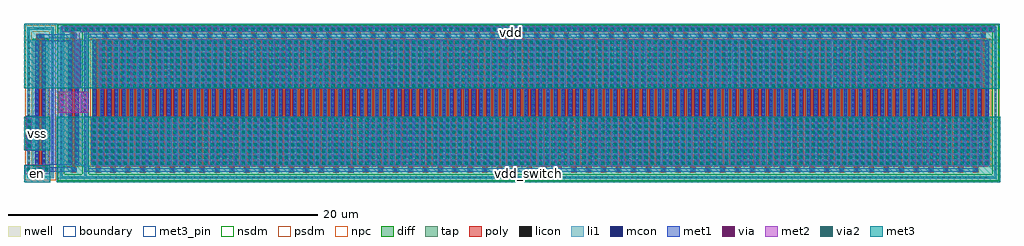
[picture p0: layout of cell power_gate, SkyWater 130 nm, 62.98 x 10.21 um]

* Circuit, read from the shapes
.subckt power_gate en vdd vdd_switch vss
XM1 n1 en vss vss sky130_fd_pr__nfet_01v8 w=8 l=0.15
XM2 vdd en n1 vdd sky130_fd_pr__pfet_01v8 w=8 l=0.15
XM3 vdd n1 vdd_switch vdd sky130_fd_pr__pfet_01v8 w=8 l=0.15 m=120
.ends

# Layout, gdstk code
import gdstk
lib = gdstk.Library(unit=1e-6, precision=1e-09)
def R(c, l, rs):  # rectangles x0, y0, x1, y1
    for r in rs: c.add(gdstk.rectangle(r[:2], r[2:], *l))
def A(c, l, x, y, w, h, nx, ny, dx, dy):  # array of equal rectangles
    R(c, l, [(x+i*dx, y+j*dy, x+i*dx+w, y+j*dy+h) for i in range(nx) for j in range(ny)])
nwell = (64, 20)
diff = (65, 20)
tap = (65, 44)
poly = (66, 20)
licon = (66, 44)
li1 = (67, 20)
mcon = (67, 44)
met1 = (68, 20)
via = (68, 44)
met2 = (69, 20)
via2 = (69, 44)
met3_pin = (70, 16)
met3 = (70, 20)
nsdm = (93, 44)
psdm = (94, 20)
npc = (95, 20)
boundary = (235, 4)

sky130_fd_pr__pfet_01v8_ = lib.new_cell('sky130_fd_pr__pfet_01v8_XYJ9AL')
R(sky130_fd_pr__pfet_01v8_, nwell, [(-1.05,-5.09,1.05,5.09)])
R(sky130_fd_pr__pfet_01v8_, diff, [(-0.36,-4,0.37,4)])
R(sky130_fd_pr__pfet_01v8_, tap, [(-0.87,-4.91,0.87,-4.74), (-0.87,-4.74,-0.7,4.74), (0.7,-4.74,0.87,4.74), (-0.87,4.74,0.87,4.91)])
R(sky130_fd_pr__pfet_01v8_, poly, [(-0.16,-4.49,0.16,-4.16), (-0.07,-4.16,0.08,4.19), (-0.16,4.19,0.16,4.52)])
A(sky130_fd_pr__pfet_01v8_, licon, -0.87, -4.335, 0.17, 0.17, 1, 26, 0, 0.34)
A(sky130_fd_pr__pfet_01v8_, licon, 0.7, -4.335, 0.17, 0.17, 1, 26, 0, 0.34)
A(sky130_fd_pr__pfet_01v8_, licon, -0.3, -3.825, 0.17, 0.17, 1, 23, 0, 0.34)
A(sky130_fd_pr__pfet_01v8_, licon, 0.14, -3.825, 0.17, 0.17, 1, 23, 0, 0.34)
R(sky130_fd_pr__pfet_01v8_, licon, [(-0.255,-4.91,-0.085,-4.74), (0.085,-4.91,0.255,-4.74), (-0.08,-4.41,0.09,-4.24), (-0.08,4.27,0.09,4.44), (-0.255,4.74,-0.085,4.91), (0.085,4.74,0.255,4.91)])
R(sky130_fd_pr__pfet_01v8_, li1, [(-0.87,-4.91,0.87,-4.74), (-0.87,-4.74,-0.7,4.74), (0.7,-4.74,0.87,4.74), (-0.16,-4.44,0.17,-4.21), (-0.3,-4.02,-0.13,4.02), (0.14,-4.02,0.31,4.02), (-0.21,4.25,0.17,4.45), (-0.87,4.74,0.87,4.91)])
A(sky130_fd_pr__pfet_01v8_, mcon, -0.3, -3.865, 0.17, 0.17, 1, 22, 0, 0.36)
A(sky130_fd_pr__pfet_01v8_, mcon, 0.14, -3.865, 0.17, 0.17, 1, 22, 0, 0.36)
R(sky130_fd_pr__pfet_01v8_, mcon, [(-0.08,-4.41,0.09,-4.24), (-0.08,4.27,0.09,4.44)])
R(sky130_fd_pr__pfet_01v8_, met1, [(-0.24,-4.46,0.22,-4.21), (-0.33,-4,-0.1,4), (0.11,-4,0.34,4), (-0.23,4.24,0.23,4.47)])
R(sky130_fd_pr__pfet_01v8_, nsdm, [(-0.995,-5.035,0.995,-4.615), (-0.995,-4.615,-0.575,4.615), (0.575,-4.615,0.995,4.615), (-0.995,4.615,0.995,5.035)])
R(sky130_fd_pr__pfet_01v8_, psdm, [(-0.485,-4.125,0.495,4.125)])
R(sky130_fd_pr__pfet_01v8_, npc, [(-0.18,-4.51,0.19,-4.14), (-0.18,4.17,0.19,4.54)])
R(sky130_fd_pr__pfet_01v8_, boundary, [(-0.79,-4.83,0.79,4.83)])

c_sky130_fd_pr__pfet_01v8_ = lib.new_cell('sky130_fd_pr__pfet_01v8_3QZTZS')
R(c_sky130_fd_pr__pfet_01v8_, nwell, [(-29.63,-5.09,29.63,5.09)])
R(c_sky130_fd_pr__pfet_01v8_, diff, [(-28.94,-4,28.94,4)])
R(c_sky130_fd_pr__pfet_01v8_, tap, [(-29.45,-4.91,29.45,-4.74), (-29.45,-4.74,-29.28,4.74), (29.28,-4.74,29.45,4.74), (-29.45,4.74,29.45,4.91)])
A(c_sky130_fd_pr__pfet_01v8_, poly, -28.72, -4.5, 0.33, 0.33, 18, 1, 0.96, 0)
A(c_sky130_fd_pr__pfet_01v8_, poly, -11.44, -4.49, 0.33, 0.33, 12, 1, 0.96, 0)
A(c_sky130_fd_pr__pfet_01v8_, poly, 0.07, -4.49, 0.33, 0.33, 30, 1, 0.96, 0)
A(c_sky130_fd_pr__pfet_01v8_, poly, -28.63, -4.17, 0.15, 8.3, 18, 1, 0.96, 0)
A(c_sky130_fd_pr__pfet_01v8_, poly, -11.35, -4.16, 0.15, 8.29, 12, 1, 0.96, 0)
A(c_sky130_fd_pr__pfet_01v8_, poly, 0.16, -4.16, 0.15, 8.29, 30, 1, 0.96, 0)
A(c_sky130_fd_pr__pfet_01v8_, poly, -28.15, -4.13, 0.15, 8.29, 30, 1, 0.96, 0)
A(c_sky130_fd_pr__pfet_01v8_, poly, 0.64, -4.13, 0.15, 8.29, 30, 1, 0.96, 0)
A(c_sky130_fd_pr__pfet_01v8_, poly, -28.24, 4.16, 0.33, 0.33, 30, 1, 0.96, 0)
A(c_sky130_fd_pr__pfet_01v8_, poly, 0.55, 4.16, 0.33, 0.33, 30, 1, 0.96, 0)
A(c_sky130_fd_pr__pfet_01v8_, licon, -28.815, -4.91, 0.17, 0.17, 170, 2, 0.34, 9.65)
A(c_sky130_fd_pr__pfet_01v8_, licon, -28.64, -4.42, 0.17, 0.17, 18, 1, 0.96, 0)
A(c_sky130_fd_pr__pfet_01v8_, licon, -11.36, -4.41, 0.17, 0.17, 12, 1, 0.96, 0)
A(c_sky130_fd_pr__pfet_01v8_, licon, 0.15, -4.41, 0.17, 0.17, 30, 1, 0.96, 0)
A(c_sky130_fd_pr__pfet_01v8_, licon, -29.45, -4.335, 0.17, 0.17, 1, 26, 0, 0.34)
A(c_sky130_fd_pr__pfet_01v8_, licon, 29.28, -4.335, 0.17, 0.17, 1, 26, 0, 0.34)
A(c_sky130_fd_pr__pfet_01v8_, licon, -28.88, -3.825, 0.17, 0.17, 61, 23, 0.48, 0.34)
A(c_sky130_fd_pr__pfet_01v8_, licon, 0.39, -3.825, 0.17, 0.17, 60, 23, 0.48, 0.34)
A(c_sky130_fd_pr__pfet_01v8_, licon, -28.16, 4.24, 0.17, 0.17, 30, 1, 0.96, 0)
A(c_sky130_fd_pr__pfet_01v8_, licon, 0.63, 4.24, 0.17, 0.17, 30, 1, 0.96, 0)
A(c_sky130_fd_pr__pfet_01v8_, li1, -28.72, -4.42, 0.33, 0.17, 18, 1, 0.96, 0)
A(c_sky130_fd_pr__pfet_01v8_, li1, -11.44, -4.41, 0.33, 0.17, 12, 1, 0.96, 0)
A(c_sky130_fd_pr__pfet_01v8_, li1, 0.07, -4.41, 0.33, 0.17, 30, 1, 0.96, 0)
A(c_sky130_fd_pr__pfet_01v8_, li1, -28.88, -4.02, 0.17, 8.04, 61, 1, 0.48, 0)
A(c_sky130_fd_pr__pfet_01v8_, li1, 0.39, -4.02, 0.17, 8.04, 60, 1, 0.48, 0)
A(c_sky130_fd_pr__pfet_01v8_, li1, -28.24, 4.24, 0.33, 0.17, 30, 1, 0.96, 0)
A(c_sky130_fd_pr__pfet_01v8_, li1, 0.55, 4.24, 0.33, 0.17, 30, 1, 0.96, 0)
R(c_sky130_fd_pr__pfet_01v8_, li1, [(-29.45,-4.91,29.45,-4.74), (-29.45,-4.74,-29.28,4.74), (29.28,-4.74,29.45,4.74), (-29.45,4.74,29.45,4.91)])
A(c_sky130_fd_pr__pfet_01v8_, mcon, -28.64, -4.42, 0.17, 0.17, 18, 1, 0.96, 0)
A(c_sky130_fd_pr__pfet_01v8_, mcon, -11.36, -4.41, 0.17, 0.17, 12, 1, 0.96, 0)
A(c_sky130_fd_pr__pfet_01v8_, mcon, 0.15, -4.41, 0.17, 0.17, 30, 1, 0.96, 0)
A(c_sky130_fd_pr__pfet_01v8_, mcon, -28.88, -3.865, 0.17, 0.17, 61, 22, 0.48, 0.36)
A(c_sky130_fd_pr__pfet_01v8_, mcon, 0.39, -3.865, 0.17, 0.17, 60, 22, 0.48, 0.36)
A(c_sky130_fd_pr__pfet_01v8_, mcon, -28.16, 4.24, 0.17, 0.17, 30, 1, 0.96, 0)
A(c_sky130_fd_pr__pfet_01v8_, mcon, 0.63, 4.24, 0.17, 0.17, 30, 1, 0.96, 0)
A(c_sky130_fd_pr__pfet_01v8_, met1, -28.7, -4.45, 0.29, 0.23, 18, 1, 0.96, 0)
A(c_sky130_fd_pr__pfet_01v8_, met1, -11.42, -4.44, 0.29, 0.23, 12, 1, 0.96, 0)
A(c_sky130_fd_pr__pfet_01v8_, met1, 0.09, -4.44, 0.29, 0.23, 30, 1, 0.96, 0)
A(c_sky130_fd_pr__pfet_01v8_, met1, -28.91, -4, 0.23, 8, 61, 1, 0.48, 0)
A(c_sky130_fd_pr__pfet_01v8_, met1, 0.36, -4, 0.23, 8, 60, 1, 0.48, 0)
A(c_sky130_fd_pr__pfet_01v8_, met1, -28.22, 4.21, 0.29, 0.23, 30, 1, 0.96, 0)
A(c_sky130_fd_pr__pfet_01v8_, met1, 0.57, 4.21, 0.29, 0.23, 30, 1, 0.96, 0)
R(c_sky130_fd_pr__pfet_01v8_, nsdm, [(-29.575,-5.035,29.575,-4.615), (-29.575,-4.615,-29.155,4.615), (29.155,-4.615,29.575,4.615), (-29.575,4.615,29.575,5.035)])
R(c_sky130_fd_pr__pfet_01v8_, psdm, [(-29.065,-4.125,29.065,4.125)])
A(c_sky130_fd_pr__pfet_01v8_, npc, -28.74, -4.52, 0.37, 0.37, 18, 1, 0.96, 0)
A(c_sky130_fd_pr__pfet_01v8_, npc, -11.46, -4.51, 0.37, 0.37, 12, 1, 0.96, 0)
A(c_sky130_fd_pr__pfet_01v8_, npc, 0.05, -4.51, 0.37, 0.37, 30, 1, 0.96, 0)
A(c_sky130_fd_pr__pfet_01v8_, npc, -28.26, 4.14, 0.37, 0.37, 30, 1, 0.96, 0)
A(c_sky130_fd_pr__pfet_01v8_, npc, 0.53, 4.14, 0.37, 0.37, 30, 1, 0.96, 0)
R(c_sky130_fd_pr__pfet_01v8_, boundary, [(-29.37,-4.83,29.37,4.83)])

sky130_fd_pr__nfet_01v8_ = lib.new_cell('sky130_fd_pr__nfet_01v8_H2P3K4')
R(sky130_fd_pr__nfet_01v8_, diff, [(-0.38,-4,0.38,4)])
R(sky130_fd_pr__nfet_01v8_, tap, [(-0.87,-4.87,0.87,-4.7), (-0.87,-4.7,-0.7,4.7), (0.7,-4.7,0.87,4.7), (-0.87,4.7,0.87,4.87)])
R(sky130_fd_pr__nfet_01v8_, poly, [(-0.24,-4.44,0.28,-4.11), (-0.07,-4.11,0.08,4.11), (-0.26,4.11,0.25,4.44)])
A(sky130_fd_pr__nfet_01v8_, licon, -0.87, -4.335, 0.17, 0.17, 1, 26, 0, 0.34)
A(sky130_fd_pr__nfet_01v8_, licon, 0.7, -4.335, 0.17, 0.17, 1, 26, 0, 0.34)
A(sky130_fd_pr__nfet_01v8_, licon, -0.32, -3.825, 0.17, 0.17, 1, 23, 0, 0.34)
A(sky130_fd_pr__nfet_01v8_, licon, 0.15, -3.825, 0.17, 0.17, 1, 23, 0, 0.34)
R(sky130_fd_pr__nfet_01v8_, licon, [(-0.255,-4.87,-0.085,-4.7), (0.085,-4.87,0.255,-4.7), (-0.075,-4.36,0.095,-4.19), (-0.085,4.19,0.085,4.36), (-0.255,4.7,-0.085,4.87), (0.085,4.7,0.255,4.87)])
R(sky130_fd_pr__nfet_01v8_, li1, [(-0.87,-4.87,0.87,-4.7), (-0.87,-4.7,-0.7,4.7), (0.7,-4.7,0.87,4.7), (-0.16,-4.36,0.18,-4.19), (-0.32,-4.02,-0.15,4.02), (0.15,-4.02,0.32,4.02), (-0.22,4.19,0.21,4.36), (-0.87,4.7,0.87,4.87)])
A(sky130_fd_pr__nfet_01v8_, mcon, -0.32, -3.865, 0.17, 0.17, 1, 22, 0, 0.36)
A(sky130_fd_pr__nfet_01v8_, mcon, 0.15, -3.865, 0.17, 0.17, 1, 22, 0, 0.36)
R(sky130_fd_pr__nfet_01v8_, mcon, [(-0.075,-4.36,0.095,-4.19), (-0.085,4.19,0.085,4.36)])
R(sky130_fd_pr__nfet_01v8_, met1, [(-0.22,-4.39,0.26,-4.16), (-0.35,-4,-0.12,4), (0.12,-4,0.35,4), (-0.21,4.16,0.23,4.39)])
R(sky130_fd_pr__nfet_01v8_, nsdm, [(-0.505,-4.125,0.505,4.125)])
R(sky130_fd_pr__nfet_01v8_, psdm, [(-0.995,-4.995,0.995,-4.575), (-0.995,-4.575,-0.575,4.575), (0.575,-4.575,0.995,4.575), (-0.995,4.575,0.995,4.995)])
R(sky130_fd_pr__nfet_01v8_, npc, [(-0.175,-4.46,0.195,-4.09), (-0.185,4.09,0.185,4.46)])
R(sky130_fd_pr__nfet_01v8_, boundary, [(-0.79,-4.78,0.79,4.78)])

power_gate = lib.new_cell('power_gate')
R(power_gate, li1, [(-3.78,-4.58,-3.19,3.47), (-6.85,-4.57,-6.26,-3.6), (-6.95,-3.6,-6.26,-1.46), (-6.85,-1.46,-6.26,3.46), (-6.85,3.46,-6.78,3.48), (-4.67,4.18,55.49,4.36)])
A(power_gate, mcon, -6.875, -3.515, 0.17, 0.17, 1, 6, 0, 0.36)
A(power_gate, mcon, -4.555, 4.185, 0.17, 0.17, 167, 1, 0.36, 0)
A(power_gate, met1, -2.8, -4.56, 0.39, 3, 61, 1, 0.96, 0)
A(power_gate, met1, 6.32, 0.44, 0.39, 3, 51, 1, 0.96, 0)
A(power_gate, met1, -2.32, 0.45, 0.39, 3, 9, 1, 0.96, 0)
R(power_gate, met1, [(-6.28,-5,-3.82,-4.71), (-3.25,-5,54.42,-4.76), (-3.25,-4.76,-3.01,-1.14), (-5.89,-4.55,-4.18,-0.47), (-7,-3.66,-6.29,-3.34), (-7,-3.34,-6.36,-1.4), (-3.47,-1.14,-2.96,0.1), (-5.89,-0.47,-4.17,-0.4), (-5.86,-0.4,-4.17,-0.26), (-5.84,-0.26,-4.17,1.1), (-3.25,0.1,-3.01,3.65), (-3.9,0.39,-3.49,3.45), (-5.89,1.1,-4.17,1.19), (-5.89,1.19,-4.18,3.45), (-6.22,3.61,-3.72,3.76), (-3.25,3.65,54.9,3.89), (-6.22,3.76,-3.81,3.88), (-3.54,4.05,55.54,4.07), (-4.72,4.07,55.54,4.15), (-4.73,4.15,55.55,4.39)])
A(power_gate, via, -2.68, -4.415, 0.15, 0.15, 61, 9, 0.96, 0.32)
A(power_gate, via, -6.865, -3.405, 0.15, 0.15, 1, 6, 0, 0.32)
A(power_gate, via, -4.76, -1.075, 0.15, 0.15, 1, 4, 0, 0.32)
A(power_gate, via, -3.29, -1.075, 0.15, 0.15, 1, 4, 0, 0.32)
A(power_gate, via, -3.77, 0.565, 0.15, 0.15, 1, 9, 0, 0.32)
A(power_gate, via, 6.44, 0.585, 0.15, 0.15, 51, 9, 0.96, 0.32)
A(power_gate, via, -2.2, 0.595, 0.15, 0.15, 9, 9, 0.96, 0.32)
A(power_gate, via, -3.365, 4.13, 0.15, 0.15, 184, 1, 0.32, 0)
A(power_gate, via, -4.515, 4.14, 0.15, 0.15, 3, 1, 0.32, 0)
R(power_gate, via, [(-6.085,-4.93,-5.935,-4.78), (-5.765,-4.93,-5.615,-4.78)])
R(power_gate, met2, [(-7.08,-5.15,-5.47,-4.56), (-2.75,-4.66,55.14,-1.46), (-6.95,-3.65,-6.63,-1.41), (-4.89,-1.19,-3.01,0.16), (-3.85,0.34,-3.54,4), (-2.27,0.35,54.67,3.54), (-4.67,4,55.49,4.41)])
A(power_gate, via2, -6.975, -4.955, 0.2, 0.2, 4, 1, 0.4, 0)
A(power_gate, via2, -2.705, -4.56, 0.2, 0.2, 145, 8, 0.4, 0.4)
A(power_gate, via2, -6.89, -3.43, 0.2, 0.2, 1, 5, 0, 0.4)
A(power_gate, via2, -2.1, 0.445, 0.2, 0.2, 142, 8, 0.4, 0.4)
A(power_gate, via2, -4.49, 4.105, 0.2, 0.2, 150, 1, 0.4, 0)
R(power_gate, met3_pin, [(-7.13,-5.67,-5.44,-4.58), (-5.03,-5.67,55.84,-4.61), (-7.13,-3.61,-5.44,-1.46), (-7.14,3.49,55.83,4.54)])
R(power_gate, met3, [(-7.13,-5.67,-5.44,-4.58), (-5.03,-5.67,55.84,-1.46), (-7,-3.625,-6.58,-3.61), (-7.13,-3.61,-5.44,-1.46), (-7,-1.46,-6.58,-1.435), (54.67,0.37,55.83,0.375), (-2.32,0.375,55.83,0.4), (-7.14,0.4,55.83,4.54)])
power_gate.add(gdstk.Reference(sky130_fd_pr__pfet_01v8_, (-3.955,-0.555)))
power_gate.add(gdstk.Reference(c_sky130_fd_pr__pfet_01v8_, (26.195,-0.555)))
power_gate.add(gdstk.Reference(sky130_fd_pr__nfet_01v8_, (-6.075,-0.55)))
power_gate.add(gdstk.Label('vdd', (24.345,4.015), layer=70, texttype=16))
power_gate.add(gdstk.Label('en', (-6.285,-5.125), layer=70, texttype=16))
power_gate.add(gdstk.Label('vss', (-6.285,-2.535), layer=70, texttype=16))
power_gate.add(gdstk.Label('vdd_switch', (25.405,-5.14), layer=70, texttype=16))

lib.write_gds('power_gate.gds')
